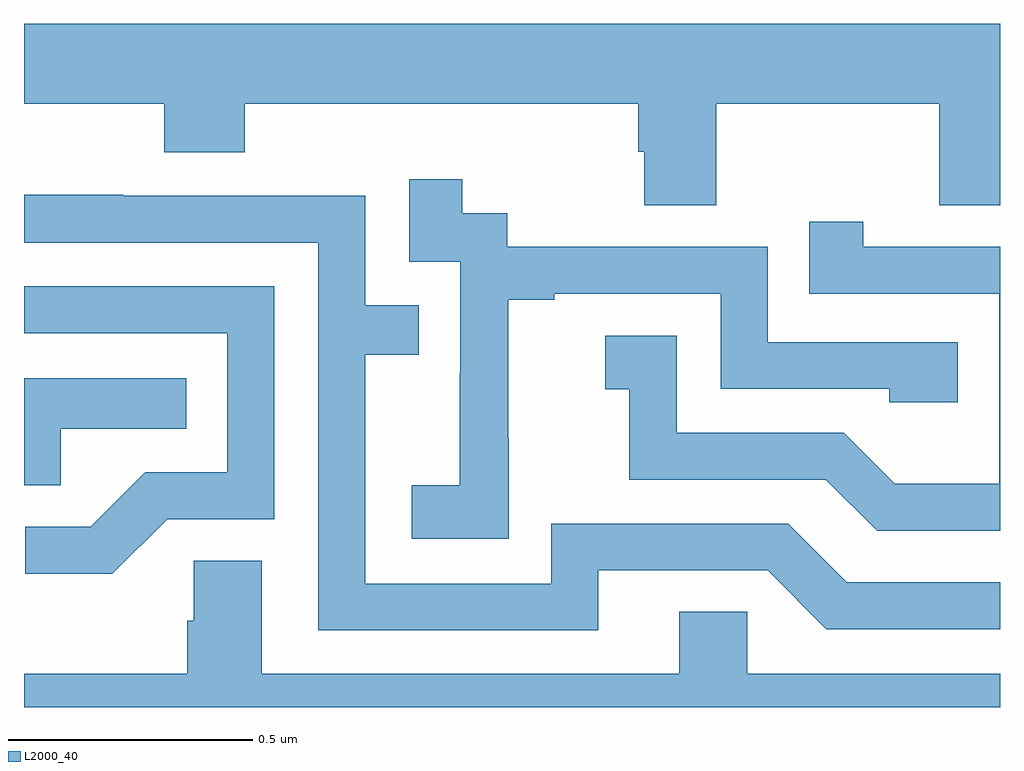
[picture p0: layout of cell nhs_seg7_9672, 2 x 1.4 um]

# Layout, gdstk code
import gdstk
lib = gdstk.Library(unit=1e-6, precision=1e-09)
def P(c, l, *ps):  # polygons
    for p in ps: c.add(gdstk.Polygon(p, *l))
L2000_40 = (2000, 40)

nhs_seg7_9672 = lib.new_cell('nhs_seg7_9672')
P(nhs_seg7_9672, L2000_40, [(241.419,1047.236),(241.876,1047.236),(241.876,1047.028),(242,1047.028),(242,1047.4),(240,1047.4),(240,1047.236),(240.287,1047.236),(240.287,1047.137),(240.452,1047.137),(240.452,1047.236),(241.259,1047.236),(241.259,1047.138),(241.271,1047.138),(241.271,1047.028),(241.419,1047.028)],
  [(240.993,1046.551),(240.992,1046.551),(240.992,1046.835),(241.087,1046.835),(241.087,1046.847),(241.428,1046.847),(241.428,1046.652),(241.773,1046.652),(241.773,1046.625),(241.913,1046.625),(241.913,1046.748),(241.524,1046.748),(241.524,1046.943),(240.99,1046.943),(240.99,1047.012),(240.898,1047.012),(240.898,1047.082),(240.789,1047.082),(240.789,1046.913),(240.894,1046.913),(240.894,1046.684),(240.893,1046.684),(240.893,1046.455),(240.795,1046.455),(240.795,1046.345),(240.993,1046.345)],
  [(241.177,1046.28),(241.524,1046.28),(241.644,1046.16),(242,1046.16),(242,1046.256),(241.686,1046.256),(241.566,1046.376),(241.08,1046.376),(241.08,1046.253),(240.699,1046.253),(240.699,1046.722),(240.809,1046.722),(240.809,1046.823),(240.699,1046.823),(240.699,1047.048),(240.203,1047.048),(240.203,1047.05),(240,1047.05),(240,1046.952),(240.603,1046.952),(240.603,1046.157),(241.177,1046.157)],
  [(242,1046.943),(241.72,1046.943),(241.72,1046.995),(241.609,1046.995),(241.609,1046.847),(241.998,1046.847),(241.998,1046.458),(241.784,1046.458),(241.68,1046.562),(241.338,1046.562),(241.338,1046.761),(241.191,1046.761),(241.191,1046.651),(241.24,1046.651),(241.24,1046.466),(241.643,1046.466),(241.748,1046.361),(242,1046.361)],
  [(240.294,1046.385),(240.513,1046.385),(240.513,1046.862),(240,1046.862),(240,1046.766),(240.417,1046.766),(240.417,1046.481),(240.248,1046.481),(240.137,1046.37),(240.003,1046.37),(240.003,1046.273),(240.181,1046.273)],
  [(240.075,1046.57),(240.332,1046.57),(240.332,1046.674),(240,1046.674),(240,1046.455),(240.075,1046.455)],
  [(242,1046.068),(241.482,1046.068),(241.482,1046.195),(241.343,1046.195),(241.343,1046.068),(240.487,1046.068),(240.487,1046.3),(240.348,1046.3),(240.348,1046.177),(240.335,1046.177),(240.335,1046.068),(240,1046.068),(240,1046),(242,1046)])

lib.write_gds('nhs_seg7_9672.gds')
